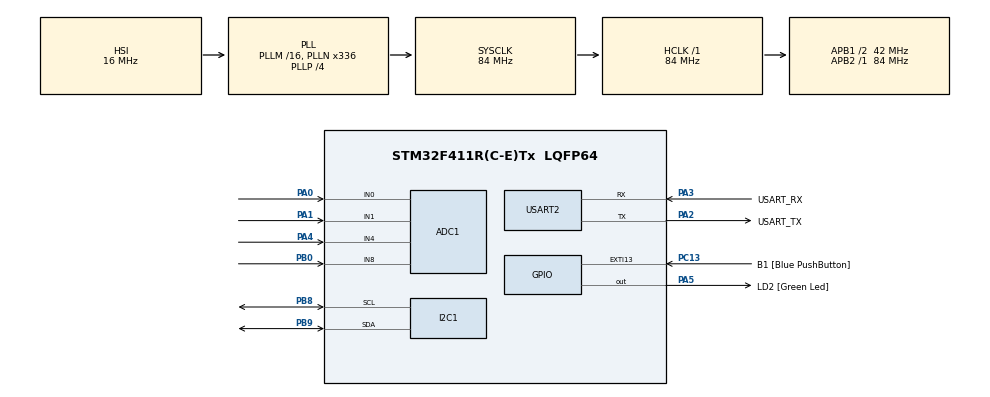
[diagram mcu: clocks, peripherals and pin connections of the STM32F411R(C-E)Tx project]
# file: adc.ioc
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ADC1.Channel-0\#ChannelRegularConversion=ADC_CHANNEL_0
ADC1.Channel-2\#ChannelRegularConversion=ADC_CHANNEL_1
ADC1.Channel-3\#ChannelRegularConversion=ADC_CHANNEL_4
ADC1.Channel-4\#ChannelRegularConversion=ADC_CHANNEL_8
ADC1.ContinuousConvMode=ENABLE
ADC1.NbrOfConversion=4
ADC1.NbrOfConversionFlag=1
ADC1.Rank-0\#ChannelRegularConversion=1
ADC1.Rank-2\#ChannelRegularConversion=2
ADC1.Rank-3\#ChannelRegularConversion=3
ADC1.Rank-4\#ChannelRegularConversion=4
ADC1.SamplingTime-0\#ChannelRegularConversion=ADC_SAMPLETIME_480CYCLES
ADC1.SamplingTime-2\#ChannelRegularConversion=ADC_SAMPLETIME_480CYCLES
ADC1.SamplingTime-3\#ChannelRegularConversion=ADC_SAMPLETIME_480CYCLES
ADC1.SamplingTime-4\#ChannelRegularConversion=ADC_SAMPLETIME_480CYCLES
ADC1.ScanConvMode=ENABLE
ADC1.master=1
Mcu.Family=STM32F4
Mcu.Name=STM32F411R(C-E)Tx
Mcu.Package=LQFP64
NVIC.ADC_IRQn=true\:0\:0\:false\:false\:true\:true\:true\:true
NVIC.PriorityGroup=NVIC_PRIORITYGROUP_0
NVIC.TIM2_IRQn=true\:0\:0\:false\:false\:true\:true\:true\:true
PA0-WKUP.Signal=ADCx_IN0
PA1.Signal=ADCx_IN1
PA13.GPIO_Label=TMS
PA13.Mode=Serial_Wire
PA13.Signal=SYS_JTMS-SWDIO
PA14.GPIO_Label=TCK
PA14.Mode=Serial_Wire
PA14.Signal=SYS_JTCK-SWCLK
PA2.GPIO_Label=USART_TX
PA2.Mode=Asynchronous
PA2.Signal=USART2_TX
PA3.GPIO_Label=USART_RX
PA3.Mode=Asynchronous
PA3.Signal=USART2_RX
PA4.Signal=ADCx_IN4
PA5.GPIO_Label=LD2 [Green Led]
PA5.Signal=GPIO_Output
PB0.Signal=ADCx_IN8
PB3.GPIO_Label=SWO
PB3.Signal=SYS_JTDO-SWO
PB8.Mode=I2C
PB8.Signal=I2C1_SCL
PB9.Mode=I2C
PB9.Signal=I2C1_SDA
PC13-ANTI_TAMP.GPIO_Label=B1 [Blue PushButton]
PC13-ANTI_TAMP.GPIO_ModeDefaultEXTI=GPIO_MODE_IT_FALLING
PC13-ANTI_TAMP.Signal=GPXTI13
PC14-OSC32_IN.Mode=LSE-External-Oscillator
PC14-OSC32_IN.Signal=RCC_OSC32_IN
PC15-OSC32_OUT.Mode=LSE-External-Oscillator
PC15-OSC32_OUT.Signal=RCC_OSC32_OUT
PH0\ -\ OSC_IN.Mode=HSE-External-Clock-Source
PH0\ -\ OSC_IN.Signal=RCC_OSC_IN
PH1\ -\ OSC_OUT.Mode=HSE-External-Clock-Source
PH1\ -\ OSC_OUT.Signal=RCC_OSC_OUT
ProjectManager.HeapSize=0x200
ProjectManager.StackSize=0x400
ProjectManager.TargetToolchain=STM32CubeIDE
RCC.48MHZClocksFreq_Value=84000000
RCC.AHBFreq_Value=84000000
RCC.APB1CLKDivider=RCC_HCLK_DIV2
RCC.APB1Freq_Value=42000000
RCC.APB1TimFreq_Value=84000000
RCC.APB2Freq_Value=84000000
RCC.APB2TimFreq_Value=84000000
RCC.CortexFreq_Value=84000000
RCC.FLatency-AdvancedSettings=FLASH_LATENCY_2
RCC.HCLKFreq_Value=84000000
RCC.HSE_VALUE=8000000
RCC.HSI_VALUE=16000000
RCC.PLLN=336
RCC.PLLP=RCC_PLLP_DIV4
RCC.SYSCLKFreq_VALUE=84000000
RCC.SYSCLKSource=RCC_SYSCLKSOURCE_PLLCLK
RCC.VCOOutputFreq_Value=336000000
SH.ADCx_IN0.0=ADC1_IN0,IN0
SH.ADCx_IN1.0=ADC1_IN1,IN1
SH.ADCx_IN4.0=ADC1_IN4,IN4
SH.ADCx_IN8.0=ADC1_IN8,IN8
TIM2.Prescaler=84-1
USART2.VirtualMode=VM_ASYNC
VP_TIM2_VS_ClockSourceINT.Mode=Internal
board=NUCLEO-F411RE

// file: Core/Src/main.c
/* USER CODE BEGIN Header */
/**
  ******************************************************************************
  * @file           : main.c
  * @brief          : Main program body
  ******************************************************************************
  * @attention
  *
  * Copyright (c) 2023 STMicroelectronics.
  * All rights reserved.
  *
  * This software is licensed under terms that can be found in the LICENSE file
  * in the root directory of this software component.
  * If no LICENSE file comes with this software, it is provided AS-IS.
  *
  ******************************************************************************
  */
/* USER CODE END Header */
#include "main.h"

/* USER CODE BEGIN Includes */
#include "lcd.h"
#include "lcd.h"
#include <stdio.h>
#include <string.h>
#include <math.h>
/* USER CODE END Includes */

/* USER CODE BEGIN PD */
#define ADC_BUF_SIZE 4

#define JOY_X 0
#define JOY_Y 1
#define LUX 2
#define LM35 3
/* USER CODE END PD */

ADC_HandleTypeDef hadc1;

I2C_HandleTypeDef hi2c1;

TIM_HandleTypeDef htim2;

UART_HandleTypeDef huart2;

/* USER CODE BEGIN PV */
TextLCDType lcd;
uint16_t adc_buffer[ADC_BUF_SIZE] = {0};
int queue_is_full = 0;
int adc_buf_ix = 0;
/* USER CODE END PV */

void SystemClock_Config(void);
static void MX_GPIO_Init(void);
static void MX_USART2_UART_Init(void);
static void MX_ADC1_Init(void);
static void MX_I2C1_Init(void);
static void MX_TIM2_Init(void);
/* USER CODE BEGIN PFP */
uint16_t read_one_adc_value(ADC_HandleTypeDef * hadc);
float normalize_12bit(uint16_t x);
float normalize_12bit_posneg(uint16_t x);
float lm35_to_celsius(uint16_t lm35_reading);
float fix_lux_format(uint16_t lux_reading);
/* USER CODE END PFP */

/* USER CODE BEGIN 0 */

float normalize_12bit(uint16_t x) {
  // transform to 0-4095 onto 0 to 1
  float normalized = (float)x / 4095.0;
  // round to two decimal points
  return roundf(normalized * 100 + .5) / 100;
}

float normalize_12bit_posneg(uint16_t x) {
  // transform to 0-4095 onto -1 to 1
  float normalized = ((float)x - 2047.0) / 2047.0;
  // round to two decimal points
  return roundf(normalized * 100 + .5) / 100;
}

uint16_t read_one_adc_value(ADC_HandleTypeDef * hadc)
{
	HAL_ADC_Start(hadc);
	HAL_ADC_PollForConversion(hadc, 100);
	uint32_t reading = HAL_ADC_GetValue(hadc);
	HAL_ADC_Stop(hadc);
	return (uint16_t) reading;
}

float fix_lux_format(uint16_t lux_reading) {
    return 1 - (float)lux_reading / 4095.0;
}

float lm35_to_celsius(uint16_t lm35_reading) {
    float perc = (float)lm35_reading / 4095.0;
    float volt = 5 * perc;
    float celsius = volt / 0.025; // bör vara 0.010 mV/C, 0.025 funkar bra
    return celsius;
}

// INPUT: x-coordinate of joystick, y-coordinate of joystick, lux_reading, lm35_reading
void lcd_print_adc(TextLCDType * lcd, float x, float y, float lux_reading, float lm35_reading) {
	const char char_x = 'x';
	const char char_y = 'y';
	const char char_lux_reading = 'L';
  const char char_lm35_reading_1 = 176;
  const char char_lm35_reading_2 = 'C';

	// Convert float values to strings with signs
	char x_str[6] = {0};
	char y_str[6] = {0};
	char lux_reading_str[6] = {0};
  char lm35_reading_str[5] = {0};

	// Format the strings with signs and two decimal places
	snprintf(x_str, sizeof(x_str), "%+.2f", x);
	snprintf(y_str, sizeof(y_str), "%+.2f", y);
	snprintf(lux_reading_str, sizeof(lux_reading_str), "%.3f", lux_reading);
  snprintf(lm35_reading_str, sizeof(lm35_reading_str), "%.1f", lm35_reading);

  // Set the cursor position for JOY_X (16x2 LCD)
	uint8_t row = 0; // First row (0-based index)
	uint8_t col = 0; // Leftmost column (0-based index)
	TextLCD_SetPos(lcd, row, col);
	TextLCD_PutChar(lcd, x_str[0]); // Print the sign
	TextLCD_PutChar(lcd, x_str[1]); // Print the first digit
	TextLCD_PutChar(lcd, x_str[2]); // Print the decimal point
	TextLCD_PutChar(lcd, x_str[3]); // Print the first decimal digit
	TextLCD_PutChar(lcd, x_str[4]); // Print the second decimal digit
	// note: null is at index 5
	TextLCD_PutChar(lcd, char_x);      // Print the 'x' character

  // Set the cursor position for JOY_Y (16x2 LCD)
  row = 1;
  col = 0;
  TextLCD_SetPos(lcd, row, col);
  TextLCD_PutChar(lcd, y_str[0]); // Print the sign
  TextLCD_PutChar(lcd, y_str[1]); // Print the first digit
  TextLCD_PutChar(lcd, y_str[2]); // Print the decimal point
  TextLCD_PutChar(lcd, y_str[3]); // Print the first decimal digit
  TextLCD_PutChar(lcd, y_str[4]); // Print the second decimal digit
  // note: null is at index 5
  TextLCD_PutChar(lcd, char_y);      // Print the 'y' character

  row = 1;
  col = 10;
  TextLCD_SetPos(lcd, row, col);
  TextLCD_PutChar(lcd, lux_reading_str[0]); // Print the first digit
  TextLCD_PutChar(lcd, lux_reading_str[1]); // Print the decimal point
  TextLCD_PutChar(lcd, lux_reading_str[2]); // Print the first decimal digit
  TextLCD_PutChar(lcd, lux_reading_str[3]); // Print the second decimal digit
  TextLCD_PutChar(lcd, lux_reading_str[4]); // Print the third decimal digit
  // note: null is at index 5
  TextLCD_PutChar(lcd, char_lux_reading);      // Print the 'L' character

  row = 0;
  col = 10;
  TextLCD_SetPos(lcd, row, col);
  TextLCD_PutChar(lcd, lm35_reading_str[0]); // Print the first digit
  TextLCD_PutChar(lcd, lm35_reading_str[1]); // Print the second digit
  TextLCD_PutChar(lcd, lm35_reading_str[2]); // Print the decimal point
  TextLCD_PutChar(lcd, lm35_reading_str[3]); // Print the first decimal digit
  // note: null is at index 4
  TextLCD_PutChar(lcd, char_lm35_reading_1);      // Print the '°' character
  TextLCD_PutChar(lcd, char_lm35_reading_2);      // Print the 'C' character
}

void HAL_ADC_ConvCpltCallback(ADC_HandleTypeDef* hadc)
{
    if (hadc == &hadc1) {
        // Hantera JOY_X-kanalen
        if (__HAL_ADC_GET_FLAG(hadc, ADC_FLAG_EOC) && adc_buf_ix == JOY_X) {
            adc_buffer[JOY_X] = HAL_ADC_GetValue(&hadc1);
            adc_buf_ix++;
        }
        // Hantera JOY_Y-kanalen
        else if (__HAL_ADC_GET_FLAG(hadc, ADC_FLAG_EOC) && adc_buf_ix == JOY_Y) {
            // Kopiera värdet från dataregistret för JOY_Y
            adc_buffer[JOY_Y] = HAL_ADC_GetValue(&hadc1);
            adc_buf_ix++;
        }
        else if (__HAL_ADC_GET_FLAG(hadc, ADC_FLAG_EOC) && adc_buf_ix == LUX) {
            // Handle the light sensor
            adc_buffer[LUX] = HAL_ADC_GetValue(&hadc1);
            adc_buf_ix++;

        }
        else if (__HAL_ADC_GET_FLAG(hadc, ADC_FLAG_EOC) && adc_buf_ix == LM35) {
            // Handle the temperature sensor
            adc_buffer[LM35] = HAL_ADC_GetValue(&hadc1);
            adc_buf_ix++; // increment to assure new values are not read until current queue has been handled

            // Hela kön är full, sluta konvertera och flagga
            queue_is_full = 1;
            HAL_ADC_Stop(hadc);
        }
    }
}

/* USER CODE END 0 */

int main(void)
{

  /* MCU Configuration--------------------------------------------------------*/

  /* Reset of all peripherals, Initializes the Flash interface and the Systick. */
  HAL_Init();

  /* Configure the system clock */
  SystemClock_Config();

  /* Initialize all configured peripherals */
  MX_GPIO_Init();
  MX_USART2_UART_Init();
  MX_ADC1_Init();
  MX_I2C1_Init();
  MX_TIM2_Init();
  /* USER CODE BEGIN 2 */
  TextLCD_Init(&lcd, &hi2c1, 0x4E);
  __HAL_ADC_ENABLE_IT(&hadc1, ADC_IT_EOC);
  /* USER CODE END 2 */

  /* Infinite loop */
  /* USER CODE BEGIN WHILE */

  //uint16_t adc_reading = 0;
  //float pos = 0;
  //float posneg = 0;
  //char buffer[100] = {0};
  // HAL_UART_Transmit(&huart2, (uint8_t *)"\r", 1, HAL_MAX_DELAY);

  float x = 0;
  float y = 0;
  float lux_reading = 0;
  float lm35_reading = 0;

  // Starta den första ADC-konverteringen - utan interrupt
  // HAL_ADC_Start(&hadc1);
  HAL_ADC_Start_IT(&hadc1);
  while (1)
  {

    // Vänta på att ADC-konverteringen är klar (hanteras av interrupt)
    // När queue_is_full flaggan är satt i callback-funktionen,
    // betyder det att vi har nya värden att behandla
    if (queue_is_full == 1)
    {
        // Läs och normalisera värdena från ADC-buffer
        x = normalize_12bit_posneg(adc_buffer[JOY_X]);
        y = normalize_12bit_posneg(adc_buffer[JOY_Y]);
        lux_reading = fix_lux_format(adc_buffer[LUX]);
        lm35_reading = lm35_to_celsius(adc_buffer[LM35]);

        // Skriv ut värdena på LCD
        lcd_print_adc(&lcd, x, y, lux_reading, lm35_reading);

        // Återställ flaggan och starta en ny konvertering
        queue_is_full = 0;
        adc_buf_ix = 0;
        HAL_ADC_Start_IT(&hadc1);
    }

	  // polling
      // adc_reading = read_one_adc_value(&hadc1);
      // pos = normalize_12bit(adc_reading);
      // x = normalize_12bit_posneg(adc_reading);
      // lcd_print_adc(&lcd, x, y, 0, 0);

      // UART
      // sprintf(buffer, "Normalized (0-1): %2.2f, Normalized (-1 to 1): %2.2f", pos, posneg);
      // HAL_UART_Transmit(&huart2, (uint8_t *)buffer, strlen(buffer), HAL_MAX_DELAY);
      // HAL_UART_Transmit(&huart2, (uint8_t *)"\r", 1, HAL_MAX_DELAY);
      // HAL_Delay(300);
    /* USER CODE END WHILE */

  }
}

void SystemClock_Config(void)
{
  RCC_OscInitTypeDef RCC_OscInitStruct = {0};
  RCC_ClkInitTypeDef RCC_ClkInitStruct = {0};

  /** Configure the main internal regulator output voltage
  */
  __HAL_RCC_PWR_CLK_ENABLE();
  __HAL_PWR_VOLTAGESCALING_CONFIG(PWR_REGULATOR_VOLTAGE_SCALE1);

  /** Initializes the RCC Oscillators according to the specified parameters
  * in the RCC_OscInitTypeDef structure.
  */
  RCC_OscInitStruct.OscillatorType = RCC_OSCILLATORTYPE_HSI;
  RCC_OscInitStruct.HSIState = RCC_HSI_ON;
  RCC_OscInitStruct.HSICalibrationValue = RCC_HSICALIBRATION_DEFAULT;
  RCC_OscInitStruct.PLL.PLLState = RCC_PLL_ON;
  RCC_OscInitStruct.PLL.PLLSource = RCC_PLLSOURCE_HSI;
  RCC_OscInitStruct.PLL.PLLM = 16;
  RCC_OscInitStruct.PLL.PLLN = 336;
  RCC_OscInitStruct.PLL.PLLP = RCC_PLLP_DIV4;
  RCC_OscInitStruct.PLL.PLLQ = 4;
  if (HAL_RCC_OscConfig(&RCC_OscInitStruct) != HAL_OK)
  {
    Error_Handler();
  }

  /** Initializes the CPU, AHB and APB buses clocks
  */
  RCC_ClkInitStruct.ClockType = RCC_CLOCKTYPE_HCLK|RCC_CLOCKTYPE_SYSCLK
                              |RCC_CLOCKTYPE_PCLK1|RCC_CLOCKTYPE_PCLK2;
  RCC_ClkInitStruct.SYSCLKSource = RCC_SYSCLKSOURCE_PLLCLK;
  RCC_ClkInitStruct.AHBCLKDivider = RCC_SYSCLK_DIV1;
  RCC_ClkInitStruct.APB1CLKDivider = RCC_HCLK_DIV2;
  RCC_ClkInitStruct.APB2CLKDivider = RCC_HCLK_DIV1;

  if (HAL_RCC_ClockConfig(&RCC_ClkInitStruct, FLASH_LATENCY_2) != HAL_OK)
  {
    Error_Handler();
  }
}

static void MX_ADC1_Init(void)
{

  ADC_ChannelConfTypeDef sConfig = {0};

  /** Configure the global features of the ADC (Clock, Resolution, Data Alignment and number of conversion)
  */
  hadc1.Instance = ADC1;
  hadc1.Init.ClockPrescaler = ADC_CLOCK_SYNC_PCLK_DIV4;
  hadc1.Init.Resolution = ADC_RESOLUTION_12B;
  hadc1.Init.ScanConvMode = ENABLE;
  hadc1.Init.ContinuousConvMode = ENABLE;
  hadc1.Init.DiscontinuousConvMode = DISABLE;
  hadc1.Init.ExternalTrigConvEdge = ADC_EXTERNALTRIGCONVEDGE_NONE;
  hadc1.Init.ExternalTrigConv = ADC_SOFTWARE_START;
  hadc1.Init.DataAlign = ADC_DATAALIGN_RIGHT;
  hadc1.Init.NbrOfConversion = 4;
  hadc1.Init.DMAContinuousRequests = DISABLE;
  hadc1.Init.EOCSelection = ADC_EOC_SINGLE_CONV;
  if (HAL_ADC_Init(&hadc1) != HAL_OK)
  {
    Error_Handler();
  }

  /** Configure for the selected ADC regular channel its corresponding rank in the sequencer and its sample time.
  */
  sConfig.Channel = ADC_CHANNEL_0;
  sConfig.Rank = 1;
  sConfig.SamplingTime = ADC_SAMPLETIME_480CYCLES;
  if (HAL_ADC_ConfigChannel(&hadc1, &sConfig) != HAL_OK)
  {
    Error_Handler();
  }

  /** Configure for the selected ADC regular channel its corresponding rank in the sequencer and its sample time.
  */
  sConfig.Channel = ADC_CHANNEL_1;
  sConfig.Rank = 2;
  if (HAL_ADC_ConfigChannel(&hadc1, &sConfig) != HAL_OK)
  {
    Error_Handler();
  }

  /** Configure for the selected ADC regular channel its corresponding rank in the sequencer and its sample time.
  */
  sConfig.Channel = ADC_CHANNEL_4;
  sConfig.Rank = 3;
  if (HAL_ADC_ConfigChannel(&hadc1, &sConfig) != HAL_OK)
  {
    Error_Handler();
  }

  /** Configure for the selected ADC regular channel its corresponding rank in the sequencer and its sample time.
  */
  sConfig.Channel = ADC_CHANNEL_8;
  sConfig.Rank = 4;
  if (HAL_ADC_ConfigChannel(&hadc1, &sConfig) != HAL_OK)
  {
    Error_Handler();
  }

}

static void MX_I2C1_Init(void)
{

  hi2c1.Instance = I2C1;
  hi2c1.Init.ClockSpeed = 100000;
  hi2c1.Init.DutyCycle = I2C_DUTYCYCLE_2;
  hi2c1.Init.OwnAddress1 = 0;
  hi2c1.Init.AddressingMode = I2C_ADDRESSINGMODE_7BIT;
  hi2c1.Init.DualAddressMode = I2C_DUALADDRESS_DISABLE;
  hi2c1.Init.OwnAddress2 = 0;
  hi2c1.Init.GeneralCallMode = I2C_GENERALCALL_DISABLE;
  hi2c1.Init.NoStretchMode = I2C_NOSTRETCH_DISABLE;
  if (HAL_I2C_Init(&hi2c1) != HAL_OK)
  {
    Error_Handler();
  }

}

static void MX_TIM2_Init(void)
{

  TIM_ClockConfigTypeDef sClockSourceConfig = {0};
  TIM_MasterConfigTypeDef sMasterConfig = {0};

  htim2.Instance = TIM2;
  htim2.Init.Prescaler = 84-1;
  htim2.Init.CounterMode = TIM_COUNTERMODE_UP;
  htim2.Init.Period = 4294967295;
  htim2.Init.ClockDivision = TIM_CLOCKDIVISION_DIV1;
  htim2.Init.AutoReloadPreload = TIM_AUTORELOAD_PRELOAD_DISABLE;
  if (HAL_TIM_Base_Init(&htim2) != HAL_OK)
  {
    Error_Handler();
  }
  sClockSourceConfig.ClockSource = TIM_CLOCKSOURCE_INTERNAL;
  if (HAL_TIM_ConfigClockSource(&htim2, &sClockSourceConfig) != HAL_OK)
  {
    Error_Handler();
  }
  sMasterConfig.MasterOutputTrigger = TIM_TRGO_RESET;
  sMasterConfig.MasterSlaveMode = TIM_MASTERSLAVEMODE_DISABLE;
  if (HAL_TIMEx_MasterConfigSynchronization(&htim2, &sMasterConfig) != HAL_OK)
  {
    Error_Handler();
  }

}

static void MX_USART2_UART_Init(void)
{

  huart2.Instance = USART2;
  huart2.Init.BaudRate = 115200;
  huart2.Init.WordLength = UART_WORDLENGTH_8B;
  huart2.Init.StopBits = UART_STOPBITS_1;
  huart2.Init.Parity = UART_PARITY_NONE;
  huart2.Init.Mode = UART_MODE_TX_RX;
  huart2.Init.HwFlowCtl = UART_HWCONTROL_NONE;
  huart2.Init.OverSampling = UART_OVERSAMPLING_16;
  if (HAL_UART_Init(&huart2) != HAL_OK)
  {
    Error_Handler();
  }

}

static void MX_GPIO_Init(void)
{
  GPIO_InitTypeDef GPIO_InitStruct = {0};

  /* GPIO Ports Clock Enable */
  __HAL_RCC_GPIOC_CLK_ENABLE();
  __HAL_RCC_GPIOH_CLK_ENABLE();
  __HAL_RCC_GPIOA_CLK_ENABLE();
  __HAL_RCC_GPIOB_CLK_ENABLE();

  /*Configure GPIO pin Output Level */
  HAL_GPIO_WritePin(LD2_GPIO_Port, LD2_Pin, GPIO_PIN_RESET);

  /*Configure GPIO pin : B1_Pin */
  GPIO_InitStruct.Pin = B1_Pin;
  GPIO_InitStruct.Mode = GPIO_MODE_IT_FALLING;
  GPIO_InitStruct.Pull = GPIO_NOPULL;
  HAL_GPIO_Init(B1_GPIO_Port, &GPIO_InitStruct);

  /*Configure GPIO pin : LD2_Pin */
  GPIO_InitStruct.Pin = LD2_Pin;
  GPIO_InitStruct.Mode = GPIO_MODE_OUTPUT_PP;
  GPIO_InitStruct.Pull = GPIO_NOPULL;
  GPIO_InitStruct.Speed = GPIO_SPEED_FREQ_LOW;
  HAL_GPIO_Init(LD2_GPIO_Port, &GPIO_InitStruct);

}

void Error_Handler(void)
{
  __disable_irq();
  while (1)
  {
  }
}
